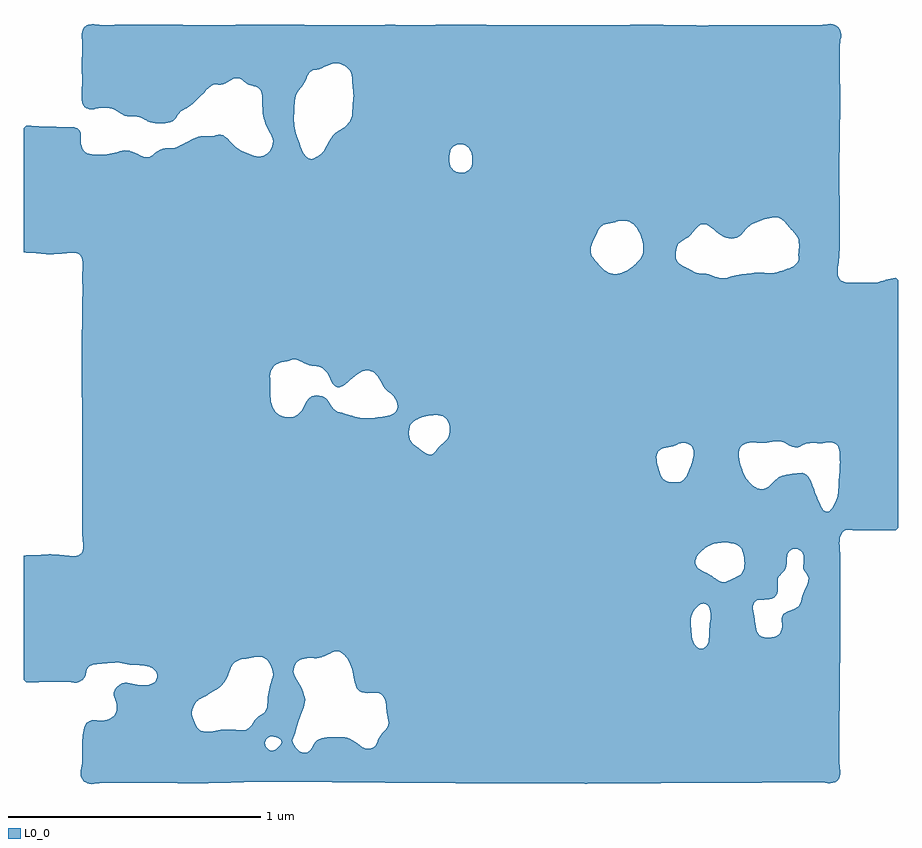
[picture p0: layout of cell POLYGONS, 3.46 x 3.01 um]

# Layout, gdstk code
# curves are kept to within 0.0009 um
import gdstk
lib = gdstk.Library(unit=1e-6, precision=1e-09)
def R(c, l, rs):  # rectangles x0, y0, x1, y1
    for r in rs: c.add(gdstk.rectangle(r[:2], r[2:], *l))
def P(c, l, *ps):  # polygons
    for p in ps: c.add(gdstk.Polygon(p, *l))
L0_0 = (0, 0)

polygons = lib.new_cell('POLYGONS')
R(polygons, L0_0, [(-1.499,-0.86,-1.39,-0.63), (-1.39,-0.86,-1.115,-0.63), (-1.115,-0.86,-0.87,-0.63), (-0.87,-0.86,-0.72,-0.63), (-0.72,-0.86,-0.57,-0.63), (-0.57,-0.86,-0.41,-0.63), (-0.41,-0.86,-0.08,-0.63), (-0.08,-0.86,0.522,-0.63), (0.522,-0.86,0.86,-0.63), (-1.39,-0.63,-1.115,-0.21), (-1.115,-0.63,-0.87,-0.21), (-0.87,-0.63,-0.72,-0.21), (-0.72,-0.63,-0.57,-0.21), (-0.57,-0.63,-0.41,-0.21), (-0.41,-0.63,-0.08,-0.21), (-0.08,-0.63,0.522,-0.21), (-1.39,-0.21,-1.115,-0.11), (-1.115,-0.21,-0.87,-0.11), (-0.87,-0.21,-0.72,-0.11), (-0.72,-0.21,-0.57,-0.11), (-0.57,-0.21,-0.41,-0.11), (-1.39,-0.11,-1.115,0.11), (-1.115,-0.11,-0.87,0.11), (-1.39,0.11,-1.115,0.61), (-1.115,0.11,-0.87,0.61), (-0.57,0.61,-0.41,0.97), (-0.41,0.61,-0.08,0.97)])
P(polygons, L0_0, [(-1.499,1.471),(-1.499,1.47),(-1.5,1.465),(-1.501,1.46),(-1.5,1.45),(-1.5,1.446),(-1.499,1.44),(-1.499,1.438)],
  [(-1.499,1.375),(-1.5,1.37),(-1.5,1.36),(-1.5,1.357),(-1.5,1.35),(-1.5,1.34),(-1.5,1.33),(-1.5,1.325),(-1.5,1.32),(-1.5,1.31),(-1.499,1.3),(-1.499,1.291)],
  [(-1.499,1.266),(-1.499,1.26),(-1.5,1.25),(-1.5,1.247),(-1.5,1.24),(-1.501,1.23),(-1.501,1.22),(-1.501,1.21),(-1.5,1.201),(-1.5,1.2),(-1.499,1.197)],
  [(-1.72,0.599),(-1.7,0.599),(-1.64,0.593),(-1.59,0.594),(-1.53,0.599),(-1.52,0.597),(-1.51,0.592),(-1.501,0.58),(-1.499,0.573),(-1.499,1.013),(-1.504,1.04),(-1.503,1.06),(-1.504,1.07),(-1.51,1.083),(-1.52,1.091),(-1.53,1.094),(-1.54,1.095),(-1.65,1.096),(-1.68,1.099),(-1.72,1.1),(-1.73,1.09),(-1.73,0.6)],
  [(-1.5,0.093),(-1.5,0.03),(-1.499,0.02),(-1.499,-0.03),(-1.499,0.31),(-1.499,0.3),(-1.5,0.29)],
  [(-1.499,-0.489),(-1.499,-0.49),(-1.499,-0.495)],
  [(-1.72,-1.1),(-1.56,-1.098),(-1.53,-1.102),(-1.52,-1.102),(-1.51,-1.099),(-1.499,-1.093),(-1.499,-0.586),(-1.501,-0.59),(-1.51,-0.597),(-1.516,-0.6),(-1.53,-0.602),(-1.62,-0.595),(-1.73,-0.6),(-1.73,-1.09)],
  [(-1.499,-1.36),(-1.499,-1.36),(-1.499,-1.362)],
  [(-1.499,-1.417),(-1.499,-1.42),(-1.5,-1.428),(-1.5,-1.43),(-1.502,-1.44),(-1.503,-1.45),(-1.504,-1.46),(-1.503,-1.47),(-1.5,-1.48),(-1.5,-1.48),(-1.499,-1.481)],
  [(-1.45,1.166),(-1.44,1.169),(-1.42,1.172),(-1.4,1.172),(-1.39,1.17),(-1.39,1.499),(-1.42,1.499),(-1.45,1.502),(-1.474,1.5),(-1.48,1.498),(-1.491,1.49),(-1.497,1.48),(-1.499,1.471),(-1.498,1.43),(-1.499,1.197),(-1.498,1.19),(-1.493,1.18),(-1.483,1.17),(-1.47,1.166),(-1.46,1.165)],
  [(-1.39,0.989),(-1.42,0.985),(-1.44,0.985),(-1.47,0.989),(-1.48,0.992),(-1.49,0.999),(-1.499,1.013),(-1.499,0.61),(-1.39,0.61)],
  [(-1.39,0.61),(-1.499,0.61),(-1.499,0.573),(-1.497,0.56),(-1.498,0.52),(-1.497,0.43),(-1.499,0.35),(-1.499,0.11),(-1.39,0.11)],
  [(-1.499,-0.15),(-1.499,-0.29),(-1.498,-0.3),(-1.499,-0.51),(-1.495,-0.55),(-1.495,-0.57),(-1.499,-0.586),(-1.499,-0.63),(-1.39,-0.63),(-1.39,0.11),(-1.499,0.11)],
  [(-1.496,-1.09),(-1.49,-1.082),(-1.485,-1.07),(-1.481,-1.05),(-1.47,-1.037),(-1.45,-1.03),(-1.39,-1.024),(-1.39,-0.86),(-1.499,-0.86),(-1.499,-1.093)],
  [(-1.499,-1.36),(-1.499,-1.481),(-1.494,-1.49),(-1.49,-1.494),(-1.478,-1.5),(-1.46,-1.503),(-1.42,-1.499),(-1.39,-1.499),(-1.39,-1.244),(-1.4,-1.248),(-1.42,-1.252),(-1.45,-1.25),(-1.46,-1.251),(-1.47,-1.254),(-1.48,-1.261),(-1.486,-1.27),(-1.49,-1.28),(-1.495,-1.3),(-1.499,-1.34)],
  [(-1.18,1.11),(-1.16,1.112),(-1.14,1.119),(-1.129,1.13),(-1.115,1.15),(-1.115,1.5),(-1.3,1.501),(-1.39,1.499),(-1.39,1.17),(-1.363,1.16),(-1.33,1.141),(-1.32,1.139),(-1.29,1.138),(-1.27,1.135),(-1.258,1.13),(-1.24,1.119),(-1.22,1.112),(-1.2,1.11)],
  [(-1.115,1.02),(-1.13,1.014),(-1.14,1.012),(-1.17,1.012),(-1.18,1.01),(-1.2,1),(-1.214,0.99),(-1.22,0.984),(-1.23,0.978),(-1.24,0.975),(-1.25,0.976),(-1.26,0.979),(-1.3,0.998),(-1.31,1.001),(-1.33,1.003),(-1.34,1.002),(-1.37,0.993),(-1.39,0.989),(-1.39,0.61),(-1.115,0.61)],
  [(-1.37,-1.023),(-1.35,-1.024),(-1.31,-1.031),(-1.26,-1.033),(-1.231,-1.04),(-1.22,-1.046),(-1.206,-1.06),(-1.202,-1.07),(-1.202,-1.08),(-1.205,-1.09),(-1.212,-1.1),(-1.22,-1.105),(-1.24,-1.112),(-1.25,-1.113),(-1.27,-1.112),(-1.32,-1.102),(-1.33,-1.102),(-1.34,-1.105),(-1.35,-1.11),(-1.362,-1.12),(-1.369,-1.13),(-1.373,-1.14),(-1.373,-1.15),(-1.371,-1.16),(-1.364,-1.18),(-1.362,-1.19),(-1.361,-1.21),(-1.363,-1.22),(-1.369,-1.23),(-1.39,-1.244),(-1.39,-1.34),(-1.115,-1.34),(-1.115,-0.86),(-1.39,-0.86),(-1.39,-1.024)],
  [(-1.115,-1.34),(-1.39,-1.34),(-1.39,-1.499),(-1.26,-1.498),(-1.115,-1.5)],
  [(-1.11,1.155),(-1.104,1.16),(-1.085,1.17),(-1.07,1.18),(-1.02,1.228),(-1,1.249),(-0.98,1.262),(-0.97,1.264),(-0.95,1.263),(-0.94,1.265),(-0.93,1.269),(-0.913,1.28),(-0.9,1.286),(-0.89,1.288),(-0.88,1.288),(-0.87,1.284),(-0.87,1.5),(-0.9,1.499),(-1.115,1.5),(-1.115,1.15)],
  [(-0.87,1.002),(-0.89,1.016),(-0.93,1.056),(-0.94,1.062),(-0.95,1.065),(-0.98,1.06),(-1.023,1.06),(-1.04,1.057),(-1.05,1.054),(-1.115,1.02),(-1.115,0.61),(-0.87,0.61)],
  [(-1.063,-1.21),(-1.056,-1.19),(-1.05,-1.18),(-1.039,-1.17),(-1.02,-1.159),(-1.01,-1.155),(-0.95,-1.117),(-0.936,-1.1),(-0.93,-1.09),(-0.92,-1.07),(-0.91,-1.043),(-0.902,-1.03),(-0.892,-1.02),(-0.87,-1.009),(-0.87,-0.86),(-1.115,-0.86),(-1.115,-1.22),(-1.064,-1.22)],
  [(-0.87,-1.29),(-0.94,-1.288),(-0.98,-1.295),(-1,-1.297),(-1.01,-1.297),(-1.02,-1.295),(-1.03,-1.292),(-1.04,-1.284),(-1.05,-1.269),(-1.06,-1.244),(-1.064,-1.23),(-1.064,-1.22),(-1.115,-1.22),(-1.115,-1.34),(-0.87,-1.34)],
  [(-1.05,-1.5),(-0.93,-1.499),(-0.87,-1.496),(-0.87,-1.34),(-1.115,-1.34),(-1.115,-1.5)],
  [(-0.774,1.11),(-0.749,1.06),(-0.745,1.05),(-0.743,1.04),(-0.746,1.02),(-0.756,1),(-0.766,0.99),(-0.78,0.981),(-0.8,0.978),(-0.82,0.981),(-0.87,1.002),(-0.87,0.61),(-0.72,0.61),(-0.72,1.5),(-0.87,1.5),(-0.87,1.284),(-0.85,1.268),(-0.84,1.263),(-0.81,1.254),(-0.8,1.249),(-0.792,1.24),(-0.788,1.23),(-0.786,1.22),(-0.786,1.18),(-0.784,1.15),(-0.78,1.13)],
  [(-0.754,0.12),(-0.752,0.13),(-0.75,0.134),(-0.747,0.14),(-0.74,0.15),(-0.73,0.157),(-0.725,0.16),(-0.72,0.162),(-0.72,0.61),(-0.87,0.61),(-0.87,0.11),(-0.756,0.11)],
  [(-0.72,-0.042),(-0.734,-0.03),(-0.741,-0.02),(-0.746,-0.01),(-0.752,0.01),(-0.755,0.04),(-0.754,0.08),(-0.756,0.11),(-0.87,0.11),(-0.87,-0.11),(-0.72,-0.11)],
  [(-0.85,-1.007),(-0.82,-1.001),(-0.8,-0.999),(-0.79,-1),(-0.78,-1.003),(-0.769,-1.01),(-0.76,-1.021),(-0.755,-1.03),(-0.747,-1.05),(-0.744,-1.06),(-0.743,-1.07),(-0.754,-1.11),(-0.763,-1.15),(-0.767,-1.2),(-0.77,-1.21),(-0.78,-1.223),(-0.806,-1.24),(-0.816,-1.25),(-0.828,-1.27),(-0.84,-1.283),(-0.85,-1.288),(-0.86,-1.29),(-0.87,-1.29),(-0.87,-1.34),(-0.776,-1.34),(-0.773,-1.33),(-0.764,-1.32),(-0.75,-1.315),(-0.73,-1.318),(-0.72,-1.323),(-0.72,-0.86),(-0.87,-0.86),(-0.87,-1.009)],
  [(-0.86,-1.496),(-0.82,-1.494),(-0.72,-1.494),(-0.72,-1.356),(-0.73,-1.365),(-0.74,-1.37),(-0.75,-1.372),(-0.76,-1.368),(-0.77,-1.359),(-0.774,-1.35),(-0.776,-1.34),(-0.87,-1.34),(-0.87,-1.496)],
  [(-0.661,1.14),(-0.656,1.21),(-0.649,1.23),(-0.626,1.26),(-0.6,1.31),(-0.59,1.319),(-0.58,1.322),(-0.57,1.323),(-0.57,1.499),(-0.72,1.5),(-0.72,1.13),(-0.661,1.13)],
  [(-0.597,0.97),(-0.6,0.97),(-0.61,0.976),(-0.614,0.98),(-0.622,0.99),(-0.63,1.007),(-0.65,1.06),(-0.656,1.08),(-0.66,1.107),(-0.661,1.13),(-0.72,1.13),(-0.72,0.61),(-0.57,0.61),(-0.57,0.977),(-0.586,0.97),(-0.59,0.969)],
  [(-0.687,0.17),(-0.66,0.177),(-0.65,0.176),(-0.6,0.154),(-0.57,0.15),(-0.57,0.61),(-0.72,0.61),(-0.72,0.162)],
  [(-0.57,0.034),(-0.58,0.033),(-0.59,0.03),(-0.6,0.023),(-0.611,0.01),(-0.63,-0.026),(-0.643,-0.04),(-0.65,-0.045),(-0.66,-0.05),(-0.67,-0.052),(-0.69,-0.053),(-0.7,-0.051),(-0.72,-0.042),(-0.72,-0.11),(-0.57,-0.11)],
  [(-0.71,-1.342),(-0.714,-1.35),(-0.72,-1.356),(-0.72,-1.494),(-0.69,-1.495),(-0.57,-1.494),(-0.57,-1.331),(-0.578,-1.34),(-0.59,-1.362),(-0.6,-1.374),(-0.61,-1.379),(-0.62,-1.38),(-0.63,-1.378),(-0.64,-1.374),(-0.65,-1.364),(-0.665,-1.34),(-0.667,-1.33),(-0.656,-1.3),(-0.638,-1.24),(-0.625,-1.21),(-0.619,-1.19),(-0.617,-1.17),(-0.618,-1.16),(-0.624,-1.14),(-0.632,-1.12),(-0.66,-1.07),(-0.663,-1.06),(-0.66,-1.04),(-0.65,-1.022),(-0.64,-1.014),(-0.63,-1.009),(-0.6,-1.004),(-0.57,-1.005),(-0.57,-0.86),(-0.72,-0.86),(-0.72,-1.323),(-0.71,-1.33),(-0.708,-1.34)],
  [(-0.55,1.328),(-0.53,1.338),(-0.51,1.346),(-0.5,1.348),(-0.49,1.348),(-0.48,1.346),(-0.465,1.34),(-0.449,1.33),(-0.44,1.32),(-0.435,1.31),(-0.432,1.3),(-0.425,1.22),(-0.429,1.18),(-0.431,1.14),(-0.438,1.12),(-0.454,1.1),(-0.467,1.09),(-0.49,1.076),(-0.509,1.06),(-0.52,1.044),(-0.54,1.004),(-0.551,0.99),(-0.564,0.98),(-0.57,0.977),(-0.57,0.97),(-0.41,0.97),(-0.41,1.499),(-0.57,1.499),(-0.57,1.323)],
  [(-0.47,0.07),(-0.46,0.076),(-0.43,0.102),(-0.41,0.117),(-0.41,0.61),(-0.57,0.61),(-0.57,0.15),(-0.56,0.148),(-0.54,0.136),(-0.53,0.124),(-0.522,0.11),(-0.51,0.083),(-0.5,0.072),(-0.49,0.067),(-0.48,0.067)],
  [(-0.41,-0.052),(-0.49,-0.03),(-0.503,-0.02),(-0.51,-0.012),(-0.53,0.017),(-0.54,0.026),(-0.55,0.031),(-0.57,0.034),(-0.57,-0.11),(-0.41,-0.11)],
  [(-0.41,-0.86),(-0.57,-0.86),(-0.57,-1.005),(-0.56,-1.004),(-0.55,-1.001),(-0.5,-0.978),(-0.49,-0.978),(-0.48,-0.98),(-0.47,-0.986),(-0.46,-0.994),(-0.45,-1.006),(-0.442,-1.02),(-0.434,-1.04),(-0.428,-1.06),(-0.42,-1.101),(-0.414,-1.12),(-0.41,-1.126)],
  [(-0.41,-1.342),(-0.43,-1.329),(-0.45,-1.321),(-0.47,-1.318),(-0.54,-1.32),(-0.55,-1.322),(-0.57,-1.331),(-0.57,-1.494),(-0.51,-1.496),(-0.41,-1.496)],
  [(-0.08,1.5),(-0.11,1.499),(-0.25,1.499),(-0.26,1.5),(-0.41,1.499),(-0.41,0.97),(-0.08,0.97)],
  [(-0.39,0.129),(-0.38,0.132),(-0.37,0.133),(-0.36,0.132),(-0.35,0.128),(-0.34,0.121),(-0.323,0.1),(-0.31,0.075),(-0.299,0.06),(-0.266,0.03),(-0.255,0.01),(-0.252,0),(-0.251,-0.01),(-0.253,-0.02),(-0.258,-0.03),(-0.27,-0.04),(-0.28,-0.044),(-0.34,-0.055),(-0.36,-0.057),(-0.38,-0.057),(-0.41,-0.052),(-0.41,-0.11),(-0.206,-0.11),(-0.203,-0.09),(-0.198,-0.08),(-0.188,-0.07),(-0.172,-0.06),(-0.147,-0.05),(-0.12,-0.044),(-0.1,-0.043),(-0.08,-0.046),(-0.08,0.61),(-0.41,0.61),(-0.41,0.117)],
  [(-0.08,-0.164),(-0.087,-0.17),(-0.11,-0.197),(-0.12,-0.2),(-0.13,-0.198),(-0.14,-0.194),(-0.16,-0.181),(-0.19,-0.158),(-0.197,-0.15),(-0.202,-0.14),(-0.206,-0.12),(-0.206,-0.11),(-0.41,-0.11),(-0.41,-0.21),(-0.08,-0.21)],
  [(-0.08,-0.86),(-0.41,-0.86),(-0.41,-1.126),(-0.4,-1.136),(-0.39,-1.141),(-0.37,-1.144),(-0.34,-1.142),(-0.33,-1.143),(-0.32,-1.146),(-0.31,-1.153),(-0.3,-1.17),(-0.297,-1.18),(-0.293,-1.22),(-0.286,-1.26),(-0.288,-1.27),(-0.292,-1.28),(-0.3,-1.291),(-0.31,-1.301),(-0.324,-1.32),(-0.337,-1.35),(-0.35,-1.36),(-0.36,-1.363),(-0.37,-1.364),(-0.38,-1.362),(-0.39,-1.357),(-0.41,-1.342),(-0.41,-1.496),(-0.3,-1.498),(-0.09,-1.498),(-0.08,-1.499)],
  [(0.514,0.62),(0.522,0.641),(0.522,1.498),(-0.08,1.5),(-0.08,0.97),(-0.047,0.97),(-0.047,0.98),(-0.043,1),(-0.04,1.007),(-0.03,1.019),(-0.02,1.024),(-0.01,1.027),(0,1.027),(0.01,1.025),(0.022,1.02),(0.03,1.014),(0.039,1),(0.042,0.99),(0.045,0.97),(0.045,0.96),(0.042,0.94),(0.036,0.93),(0.03,0.924),(0.02,0.918),(0.01,0.915),(-0.01,0.916),(-0.02,0.919),(-0.03,0.925),(-0.042,0.94),(-0.047,0.96),(-0.047,0.97),(-0.08,0.97),(-0.08,0.61),(0.513,0.61)],
  [(0.522,0.58),(0.516,0.59),(0.513,0.6),(0.513,0.61),(-0.08,0.61),(-0.08,-0.046),(-0.07,-0.049),(-0.06,-0.056),(-0.05,-0.07),(-0.047,-0.08),(-0.044,-0.1),(-0.044,-0.11),(-0.049,-0.13),(-0.055,-0.14),(-0.064,-0.15),(-0.08,-0.164),(-0.08,-0.21),(0.522,-0.21)],
  [(0.5,-1.502),(0.522,-1.501),(0.522,-0.86),(-0.08,-0.86),(-0.08,-1.499),(0.09,-1.501),(0.38,-1.5)],
  [(0.707,0.57),(0.69,0.551),(0.676,0.54),(0.66,0.53),(0.63,0.517),(0.61,0.514),(0.59,0.517),(0.57,0.527),(0.545,0.55),(0.53,0.568),(0.522,0.58),(0.522,-0.21),(0.773,-0.21),(0.774,-0.2),(0.778,-0.19),(0.788,-0.18),(0.8,-0.175),(0.84,-0.167),(0.86,-0.158),(0.86,0.558),(0.852,0.57),(0.85,0.578),(0.851,0.61),(0.853,0.62),(0.86,0.633),(0.86,1.498),(0.8,1.5),(0.67,1.5),(0.61,1.498),(0.522,1.498),(0.522,0.641),(0.543,0.69),(0.55,0.699),(0.56,0.707),(0.57,0.711),(0.6,0.716),(0.63,0.724),(0.65,0.725),(0.668,0.72),(0.68,0.713),(0.7,0.691),(0.71,0.67),(0.719,0.64),(0.721,0.62),(0.72,0.6),(0.718,0.59)],
  [(0.86,-0.309),(0.83,-0.31),(0.82,-0.308),(0.8,-0.298),(0.794,-0.29),(0.789,-0.28),(0.78,-0.251),(0.775,-0.23),(0.773,-0.21),(0.522,-0.21),(0.522,-0.63),(0.86,-0.63)],
  [(0.53,-1.501),(0.72,-1.501),(0.86,-1.499),(0.86,-0.86),(0.522,-0.86),(0.522,-1.501)],
  [(0.867,0.64),(0.898,0.66),(0.91,0.671),(0.934,0.7),(0.94,0.705),(0.95,0.71),(0.96,0.711),(0.97,0.71),(0.988,0.7),(1.013,0.679),(1.013,1.498),(0.97,1.497),(0.86,1.498),(0.86,0.633)],
  [(0.88,-0.154),(0.89,-0.155),(0.902,-0.16),(0.91,-0.166),(0.914,-0.17),(0.919,-0.18),(0.921,-0.19),(0.92,-0.202),(0.911,-0.24),(0.889,-0.29),(0.88,-0.301),(0.87,-0.307),(0.86,-0.309),(0.86,-0.63),(0.927,-0.63),(0.927,-0.62),(0.934,-0.6),(0.952,-0.58),(0.97,-0.566),(0.99,-0.556),(1.013,-0.55),(1.013,0.501),(0.98,0.513),(0.96,0.516),(0.95,0.515),(0.93,0.52),(0.888,0.54),(0.87,0.55),(0.86,0.558),(0.86,-0.158),(0.87,-0.155)],
  [(0.984,-0.81),(0.987,-0.83),(0.987,-0.85),(0.982,-0.89),(0.98,-0.934),(0.976,-0.95),(0.97,-0.959),(0.96,-0.966),(0.95,-0.968),(0.94,-0.966),(0.93,-0.959),(0.92,-0.945),(0.913,-0.92),(0.908,-0.86),(0.86,-0.86),(0.86,-1.499),(0.88,-1.498),(1,-1.498),(1.013,-1.499),(1.013,-0.696),(0.98,-0.673),(0.953,-0.66),(0.937,-0.65),(0.93,-0.64),(0.927,-0.63),(0.86,-0.63),(0.86,-0.86),(0.908,-0.86),(0.908,-0.85),(0.91,-0.84),(0.92,-0.818),(0.93,-0.805),(0.94,-0.796),(0.95,-0.791),(0.96,-0.789),(0.97,-0.792),(0.979,-0.8)],
  [(1.08,0.655),(1.09,0.658),(1.1,0.663),(1.109,0.67),(1.13,0.696),(1.149,0.71),(1.2,0.73),(1.2,1.499),(1.013,1.498),(1.013,0.679),(1.025,0.67),(1.044,0.66),(1.07,0.654)],
  [(1.098,-0.19),(1.1,-0.18),(1.106,-0.17),(1.118,-0.16),(1.13,-0.155),(1.15,-0.152),(1.2,-0.153),(1.2,0.519),(1.168,0.52),(1.1,0.512),(1.08,0.508),(1.05,0.498),(1.04,0.497),(1.013,0.501),(1.013,-0.2),(1.098,-0.2)],
  [(1.03,-0.548),(1.05,-0.548),(1.067,-0.55),(1.09,-0.556),(1.1,-0.562),(1.11,-0.573),(1.117,-0.59),(1.122,-0.63),(1.12,-0.65),(1.117,-0.66),(1.111,-0.67),(1.099,-0.68),(1.05,-0.704),(1.04,-0.705),(1.03,-0.704),(1.013,-0.696),(1.013,-0.8),(1.154,-0.8),(1.157,-0.79),(1.16,-0.785),(1.17,-0.777),(1.18,-0.775),(1.2,-0.774),(1.2,-0.336),(1.19,-0.337),(1.18,-0.336),(1.17,-0.333),(1.15,-0.32),(1.132,-0.3),(1.125,-0.29),(1.115,-0.27),(1.108,-0.25),(1.105,-0.24),(1.098,-0.2),(1.013,-0.2),(1.013,-0.55)],
  [(1.07,-1.499),(1.2,-1.497),(1.2,-0.923),(1.19,-0.92),(1.18,-0.914),(1.17,-0.9),(1.163,-0.87),(1.16,-0.84),(1.154,-0.81),(1.154,-0.8),(1.013,-0.8),(1.013,-1.499)],
  [(1.22,0.735),(1.24,0.739),(1.25,0.738),(1.26,0.735),(1.27,0.729),(1.28,0.72),(1.325,0.67),(1.33,0.662),(1.335,0.65),(1.337,0.62),(1.334,0.59),(1.335,0.57),(1.33,0.558),(1.323,0.55),(1.31,0.541),(1.3,0.537),(1.25,0.522),(1.23,0.518),(1.2,0.519),(1.2,-0.153),(1.22,-0.152),(1.25,-0.147),(1.26,-0.148),(1.27,-0.15),(1.28,-0.154),(1.31,-0.169),(1.32,-0.172),(1.33,-0.173),(1.34,-0.17),(1.35,-0.164),(1.35,1.499),(1.33,1.498),(1.2,1.499),(1.2,0.73)],
  [(1.21,-0.773),(1.22,-0.773),(1.23,-0.77),(1.24,-0.764),(1.25,-0.75),(1.252,-0.74),(1.253,-0.69),(1.259,-0.68),(1.278,-0.66),(1.284,-0.65),(1.287,-0.64),(1.29,-0.599),(1.293,-0.59),(1.301,-0.58),(1.31,-0.575),(1.32,-0.572),(1.33,-0.573),(1.343,-0.58),(1.35,-0.587),(1.35,-0.272),(1.29,-0.279),(1.28,-0.281),(1.26,-0.288),(1.244,-0.3),(1.22,-0.326),(1.2,-0.336),(1.2,-0.774)],
  [(1.21,-1.497),(1.26,-1.496),(1.35,-1.497),(1.35,-0.759),(1.342,-0.79),(1.335,-0.8),(1.321,-0.81),(1.294,-0.82),(1.28,-0.827),(1.27,-0.84),(1.268,-0.85),(1.27,-0.87),(1.269,-0.89),(1.26,-0.908),(1.25,-0.917),(1.24,-0.921),(1.22,-0.924),(1.2,-0.923),(1.2,-1.497)],
  [(1.36,-0.16),(1.37,-0.156),(1.39,-0.154),(1.43,-0.155),(1.45,-0.152),(1.47,-0.153),(1.485,-0.16),(1.493,-0.17),(1.496,-0.18),(1.498,-0.195),(1.498,0.494),(1.494,0.5),(1.491,0.51),(1.49,0.52),(1.498,0.61),(1.498,0.82),(1.497,0.83),(1.498,1.482),(1.49,1.493),(1.48,1.499),(1.47,1.502),(1.46,1.503),(1.41,1.498),(1.35,1.499),(1.35,-0.164)],
  [(1.47,-1.499),(1.48,-1.496),(1.489,-1.49),(1.496,-1.48),(1.498,-1.473),(1.498,-1.43),(1.496,-1.41),(1.497,-1.37),(1.496,-1.29),(1.498,-1.21),(1.498,-0.56),(1.497,-0.55),(1.498,-0.54),(1.498,-0.268),(1.491,-0.36),(1.485,-0.38),(1.47,-0.41),(1.46,-0.422),(1.45,-0.426),(1.44,-0.425),(1.43,-0.417),(1.426,-0.41),(1.421,-0.4),(1.414,-0.38),(1.4,-0.35),(1.386,-0.31),(1.376,-0.29),(1.37,-0.283),(1.36,-0.275),(1.35,-0.272),(1.35,-0.587),(1.356,-0.6),(1.354,-0.65),(1.358,-0.66),(1.372,-0.68),(1.375,-0.69),(1.374,-0.7),(1.37,-0.713),(1.357,-0.74),(1.35,-0.759),(1.35,-1.497),(1.41,-1.496),(1.43,-1.497),(1.45,-1.5)],
  [(1.498,1.04),(1.498,1.05),(1.499,1.06),(1.499,1.12),(1.5,1.13),(1.5,1.26),(1.499,1.27),(1.499,1.42),(1.501,1.44),(1.503,1.45),(1.503,1.46),(1.502,1.47),(1.5,1.478),(1.498,1.482)],
  [(1.498,0.64),(1.498,0.67),(1.499,0.68),(1.499,0.74),(1.498,0.75),(1.498,0.77)],
  [(1.499,-0.53),(1.502,-0.52),(1.51,-0.506),(1.519,-0.5),(1.53,-0.498),(1.54,-0.498),(1.55,-0.5),(1.68,-0.5),(1.69,-0.499),(1.72,-0.5),(1.73,-0.49),(1.73,0.49),(1.72,0.5),(1.68,0.491),(1.65,0.482),(1.63,0.479),(1.57,0.48),(1.53,0.479),(1.52,0.481),(1.51,0.485),(1.501,0.49),(1.498,0.494),(1.498,-0.195),(1.5,-0.23),(1.498,-0.268),(1.498,-0.536)],
  [(1.498,-1.16),(1.498,-1.15),(1.499,-1.14),(1.499,-1.03),(1.5,-1.02),(1.5,-0.72),(1.501,-0.71),(1.501,-0.69),(1.5,-0.68),(1.5,-0.64),(1.501,-0.63),(1.501,-0.6),(1.5,-0.588),(1.498,-0.57)],
  [(1.499,-1.47),(1.5,-1.464),(1.5,-1.46),(1.5,-1.45),(1.5,-1.449),(1.499,-1.44),(1.498,-1.435),(1.498,-1.473)])

lib.write_gds('POLYGONS.gds')
